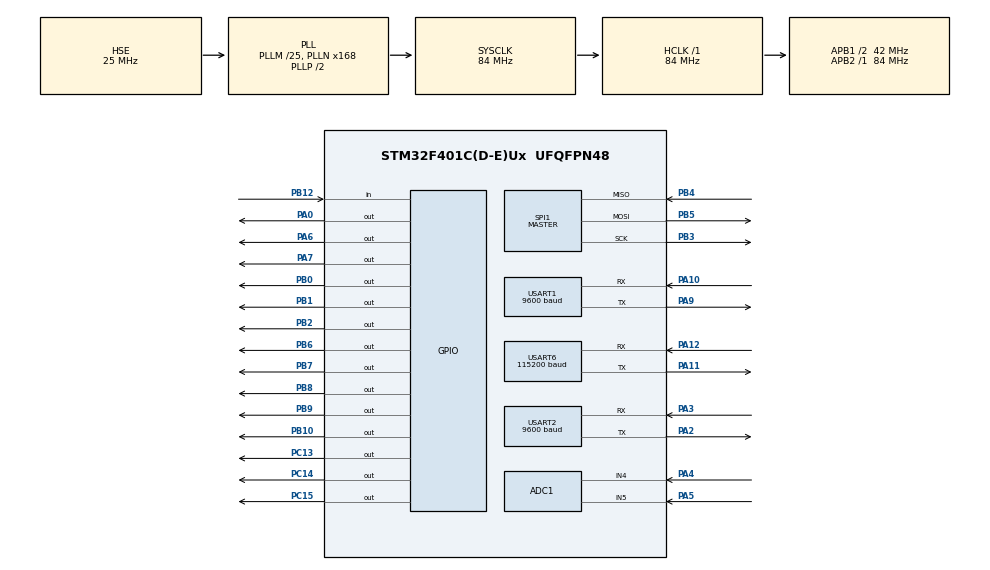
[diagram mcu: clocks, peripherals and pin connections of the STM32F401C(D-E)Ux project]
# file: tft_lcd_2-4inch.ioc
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ADC1.Channel-1\#ChannelRegularConversion=ADC_CHANNEL_4
ADC1.NbrOfConversionFlag=1
ADC1.Rank-1\#ChannelRegularConversion=1
ADC1.SamplingTime-1\#ChannelRegularConversion=ADC_SAMPLETIME_3CYCLES
ADC1.master=1
Dma.Request0=USART6_RX
Dma.Request1=USART6_TX
Dma.Request2=USART1_RX
Dma.Request3=USART1_TX
Dma.USART1_RX.2.Direction=DMA_PERIPH_TO_MEMORY
Dma.USART1_RX.2.FIFOMode=DMA_FIFOMODE_DISABLE
Dma.USART1_RX.2.Instance=DMA2_Stream2
Dma.USART1_RX.2.MemDataAlignment=DMA_MDATAALIGN_BYTE
Dma.USART1_RX.2.MemInc=DMA_MINC_ENABLE
Dma.USART1_RX.2.Mode=DMA_NORMAL
Dma.USART1_RX.2.PeriphDataAlignment=DMA_PDATAALIGN_BYTE
Dma.USART1_RX.2.PeriphInc=DMA_PINC_DISABLE
Dma.USART1_RX.2.Priority=DMA_PRIORITY_LOW
Dma.USART1_TX.3.Direction=DMA_MEMORY_TO_PERIPH
Dma.USART1_TX.3.FIFOMode=DMA_FIFOMODE_DISABLE
Dma.USART1_TX.3.Instance=DMA2_Stream7
Dma.USART1_TX.3.MemDataAlignment=DMA_MDATAALIGN_BYTE
Dma.USART1_TX.3.MemInc=DMA_MINC_ENABLE
Dma.USART1_TX.3.Mode=DMA_NORMAL
Dma.USART1_TX.3.PeriphDataAlignment=DMA_PDATAALIGN_BYTE
Dma.USART1_TX.3.PeriphInc=DMA_PINC_DISABLE
Dma.USART1_TX.3.Priority=DMA_PRIORITY_LOW
Dma.USART6_RX.0.Direction=DMA_PERIPH_TO_MEMORY
Dma.USART6_RX.0.FIFOMode=DMA_FIFOMODE_DISABLE
Dma.USART6_RX.0.Instance=DMA2_Stream1
Dma.USART6_RX.0.MemDataAlignment=DMA_MDATAALIGN_BYTE
Dma.USART6_RX.0.MemInc=DMA_MINC_ENABLE
Dma.USART6_RX.0.Mode=DMA_CIRCULAR
Dma.USART6_RX.0.PeriphDataAlignment=DMA_PDATAALIGN_BYTE
Dma.USART6_RX.0.PeriphInc=DMA_PINC_DISABLE
Dma.USART6_RX.0.Priority=DMA_PRIORITY_LOW
Dma.USART6_TX.1.Direction=DMA_MEMORY_TO_PERIPH
Dma.USART6_TX.1.FIFOMode=DMA_FIFOMODE_DISABLE
Dma.USART6_TX.1.Instance=DMA2_Stream6
Dma.USART6_TX.1.MemDataAlignment=DMA_MDATAALIGN_BYTE
Dma.USART6_TX.1.MemInc=DMA_MINC_ENABLE
Dma.USART6_TX.1.Mode=DMA_NORMAL
Dma.USART6_TX.1.PeriphDataAlignment=DMA_PDATAALIGN_BYTE
Dma.USART6_TX.1.PeriphInc=DMA_PINC_DISABLE
Dma.USART6_TX.1.Priority=DMA_PRIORITY_LOW
Mcu.Family=STM32F4
Mcu.Name=STM32F401C(D-E)Ux
Mcu.Package=UFQFPN48
NVIC.DMA2_Stream1_IRQn=true\:0\:0\:false\:false\:true\:false\:true\:true
NVIC.DMA2_Stream2_IRQn=true\:0\:0\:false\:false\:true\:false\:true\:true
NVIC.DMA2_Stream6_IRQn=true\:0\:0\:false\:false\:true\:false\:true\:true
NVIC.DMA2_Stream7_IRQn=true\:0\:0\:false\:false\:true\:false\:true\:true
NVIC.PriorityGroup=NVIC_PRIORITYGROUP_4
NVIC.USART1_IRQn=true\:0\:0\:false\:false\:true\:true\:true\:true
NVIC.USART2_IRQn=true\:0\:0\:false\:false\:true\:true\:true\:true
NVIC.USART6_IRQn=true\:0\:0\:false\:false\:true\:true\:true\:true
PA0-WKUP.Signal=GPIO_Output
PA10.Mode=Asynchronous
PA10.Signal=USART1_RX
PA11.Mode=Asynchronous
PA11.Signal=USART6_TX
PA12.Mode=Asynchronous
PA12.Signal=USART6_RX
PA13.Mode=Serial_Wire
PA13.Signal=SYS_JTMS-SWDIO
PA14.Mode=Serial_Wire
PA14.Signal=SYS_JTCK-SWCLK
PA2.Mode=Asynchronous
PA2.Signal=USART2_TX
PA3.Mode=Asynchronous
PA3.Signal=USART2_RX
PA4.Signal=ADCx_IN4
PA5.Signal=ADCx_IN5
PA6.Signal=GPIO_Output
PA7.Signal=GPIO_Output
PA9.Mode=Asynchronous
PA9.Signal=USART1_TX
PB0.Signal=GPIO_Output
PB1.Signal=GPIO_Output
PB10.Signal=GPIO_Output
PB12.Signal=GPIO_Input
PB2.Signal=GPIO_Output
PB3.Mode=Full_Duplex_Master
PB3.Signal=SPI1_SCK
PB4.Mode=Full_Duplex_Master
PB4.Signal=SPI1_MISO
PB5.Mode=Full_Duplex_Master
PB5.Signal=SPI1_MOSI
PB6.Signal=GPIO_Output
PB7.Signal=GPIO_Output
PB8.Signal=GPIO_Output
PB9.Signal=GPIO_Output
PC13-ANTI_TAMP.Signal=GPIO_Output
PC14-OSC32_IN.Signal=GPIO_Output
PC15-OSC32_OUT.Signal=GPIO_Output
PH0\ -\ OSC_IN.Mode=HSE-External-Oscillator
PH0\ -\ OSC_IN.Signal=RCC_OSC_IN
PH1\ -\ OSC_OUT.Mode=HSE-External-Oscillator
PH1\ -\ OSC_OUT.Signal=RCC_OSC_OUT
ProjectManager.HeapSize=0x200
ProjectManager.StackSize=0x400
ProjectManager.TargetToolchain=STM32CubeIDE
RCC.48MHZClocksFreq_Value=42000000
RCC.AHBFreq_Value=84000000
RCC.APB1CLKDivider=RCC_HCLK_DIV2
RCC.APB1Freq_Value=42000000
RCC.APB1TimFreq_Value=84000000
RCC.APB2Freq_Value=84000000
RCC.APB2TimFreq_Value=84000000
RCC.CortexFreq_Value=84000000
RCC.HCLKFreq_Value=84000000
RCC.HSE_VALUE=25000000
RCC.HSI_VALUE=16000000
RCC.LSE_VALUE=32768
RCC.PLLM=25
RCC.PLLN=168
RCC.PLLSourceVirtual=RCC_PLLSOURCE_HSE
RCC.SYSCLKFreq_VALUE=84000000
RCC.SYSCLKSource=RCC_SYSCLKSOURCE_PLLCLK
RCC.VCOOutputFreq_Value=168000000
SH.ADCx_IN4.0=ADC1_IN4,IN4
SH.ADCx_IN5.0=ADC1_IN5,IN5
SPI1.Direction=SPI_DIRECTION_2LINES
SPI1.Mode=SPI_MODE_MASTER
SPI1.VirtualType=VM_MASTER
TIM1.Period=0xffff-1
TIM1.Prescaler=84-1
USART1.BaudRate=9600
USART1.VirtualMode=VM_ASYNC
USART2.BaudRate=9600
USART2.VirtualMode=VM_ASYNC
USART6.BaudRate=115200
USART6.VirtualMode=VM_ASYNC
VP_TIM1_VS_ClockSourceINT.Mode=Internal
board=custom

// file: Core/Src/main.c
/* USER CODE BEGIN Header */
/**
  ******************************************************************************
  * @file           : main.c
  * @brief          : Main program body
  ******************************************************************************
  * @attention
  *
  * Copyright (c) 2023 STMicroelectronics.
  * All rights reserved.
  *
  * This software is licensed under terms that can be found in the LICENSE file
  * in the root directory of this software component.
  * If no LICENSE file comes with this software, it is provided AS-IS.
  *
  ******************************************************************************
  */
/* USER CODE END Header */
#include "main.h"
#include "adc.h"
#include "dma.h"
#include "spi.h"
#include "tim.h"
#include "usart.h"
#include "gpio.h"

/* USER CODE BEGIN Includes */
#include "lcd_module.h"
#include "server.h"
#include "lora.h"
#include "gps_M8N.h"
/* USER CODE END Includes */

/* USER CODE BEGIN PV */
uint8_t flag;

//LCD_TouchPoint p;
/* USER CODE END PV */

void SystemClock_Config(void);

/* USER CODE BEGIN 0 */

uint32_t test_tick;
uint8_t callback;
/* USER CODE END 0 */

int main(void)
{

  /* MCU Configuration--------------------------------------------------------*/

  /* Reset of all peripherals, Initializes the Flash interface and the Systick. */
  HAL_Init();

  /* Configure the system clock */
  SystemClock_Config();

  /* Initialize all configured peripherals */
  MX_GPIO_Init();
  MX_DMA_Init();
  MX_TIM1_Init();
  MX_ADC1_Init();
  MX_USART1_UART_Init();
  MX_USART6_UART_Init();
  MX_USART2_UART_Init();
  MX_SPI1_Init();
  /* USER CODE BEGIN 2 */
  HAL_TIM_Base_Start(&htim1);

//  server_init(&huart6);
  Ringbuf_init();
  lora_init(&huart1);
//  lcd_init();

  /* USER CODE END 2 */

  /* Infinite loop */
  while (1)
  {

    /* USER CODE BEGIN 3 */
//	  lcd_touchscreen_routine();
//	  server_transmit_routine();
//	  lora_receive_routine();
//	  lcd_touchscreen_routine();
	  gps_GGA_routine();
	  lora_wireless_transmit_routine();
	  flag++;
//	  HAL_Delay(100);
//	  server_receive_restart();
//	  LCD_Touch_Draw_Update();
  }
  /* USER CODE END 3 */
}

void SystemClock_Config(void)
{
  RCC_OscInitTypeDef RCC_OscInitStruct = {0};
  RCC_ClkInitTypeDef RCC_ClkInitStruct = {0};

  /** Configure the main internal regulator output voltage
  */
  __HAL_RCC_PWR_CLK_ENABLE();
  __HAL_PWR_VOLTAGESCALING_CONFIG(PWR_REGULATOR_VOLTAGE_SCALE2);

  /** Initializes the RCC Oscillators according to the specified parameters
  * in the RCC_OscInitTypeDef structure.
  */
  RCC_OscInitStruct.OscillatorType = RCC_OSCILLATORTYPE_HSE;
  RCC_OscInitStruct.HSEState = RCC_HSE_ON;
  RCC_OscInitStruct.PLL.PLLState = RCC_PLL_ON;
  RCC_OscInitStruct.PLL.PLLSource = RCC_PLLSOURCE_HSE;
  RCC_OscInitStruct.PLL.PLLM = 25;
  RCC_OscInitStruct.PLL.PLLN = 168;
  RCC_OscInitStruct.PLL.PLLP = RCC_PLLP_DIV2;
  RCC_OscInitStruct.PLL.PLLQ = 4;
  if (HAL_RCC_OscConfig(&RCC_OscInitStruct) != HAL_OK)
  {
    Error_Handler();
  }

  /** Initializes the CPU, AHB and APB buses clocks
  */
  RCC_ClkInitStruct.ClockType = RCC_CLOCKTYPE_HCLK|RCC_CLOCKTYPE_SYSCLK
                              |RCC_CLOCKTYPE_PCLK1|RCC_CLOCKTYPE_PCLK2;
  RCC_ClkInitStruct.SYSCLKSource = RCC_SYSCLKSOURCE_PLLCLK;
  RCC_ClkInitStruct.AHBCLKDivider = RCC_SYSCLK_DIV1;
  RCC_ClkInitStruct.APB1CLKDivider = RCC_HCLK_DIV2;
  RCC_ClkInitStruct.APB2CLKDivider = RCC_HCLK_DIV1;

  if (HAL_RCC_ClockConfig(&RCC_ClkInitStruct, FLASH_LATENCY_2) != HAL_OK)
  {
    Error_Handler();
  }
}

/* USER CODE BEGIN 4 */
//delay untuk lcd
void delay (uint32_t time){
	/* change your code here for the delay in microseconds */
	__HAL_TIM_SET_COUNTER(&htim1, 0);
	while ((__HAL_TIM_GET_COUNTER(&htim1))<time);
}

//void HAL_GPIO_EXTI_Callback(uint16_t GPIO_Pin)
//{
//  if (GPIO_Pin == GPIO_PIN_3 && (HAL_GetTick() - previousTick > 600))
//  {
//    txBuffer[dataIndex]=charValue;
//    dataBuffer[dataIndex++]=charValue;
//    txBuffer[dataIndex]=13;
//    HAL_UART_Transmit_IT(&huart1,(uint8_t *)txBuffer,dataIndex+1);
//    previousTick = HAL_GetTick();
//  }
//  else if (GPIO_Pin == GPIO_PIN_1 && (HAL_GetTick() - previousTick > 600))
//  {
//    dataIndex--;
//    dataBuffer[dataIndex]=0;
//    txBuffer[dataIndex]=13;
//    HAL_UART_Transmit_IT(&huart1,(uint8_t *)txBuffer,dataIndex+1);
//    SSD1306_Clear();
//    previousTick = HAL_GetTick();
//  }
//}
void HAL_UART_RxHalfCpltCallback(UART_HandleTypeDef *huart)
{
	callback++;
	server_receive_callback(huart);
}
/* USER CODE END 4 */

void Error_Handler(void)
{
  __disable_irq();
  while (1)
  {
  }
}
